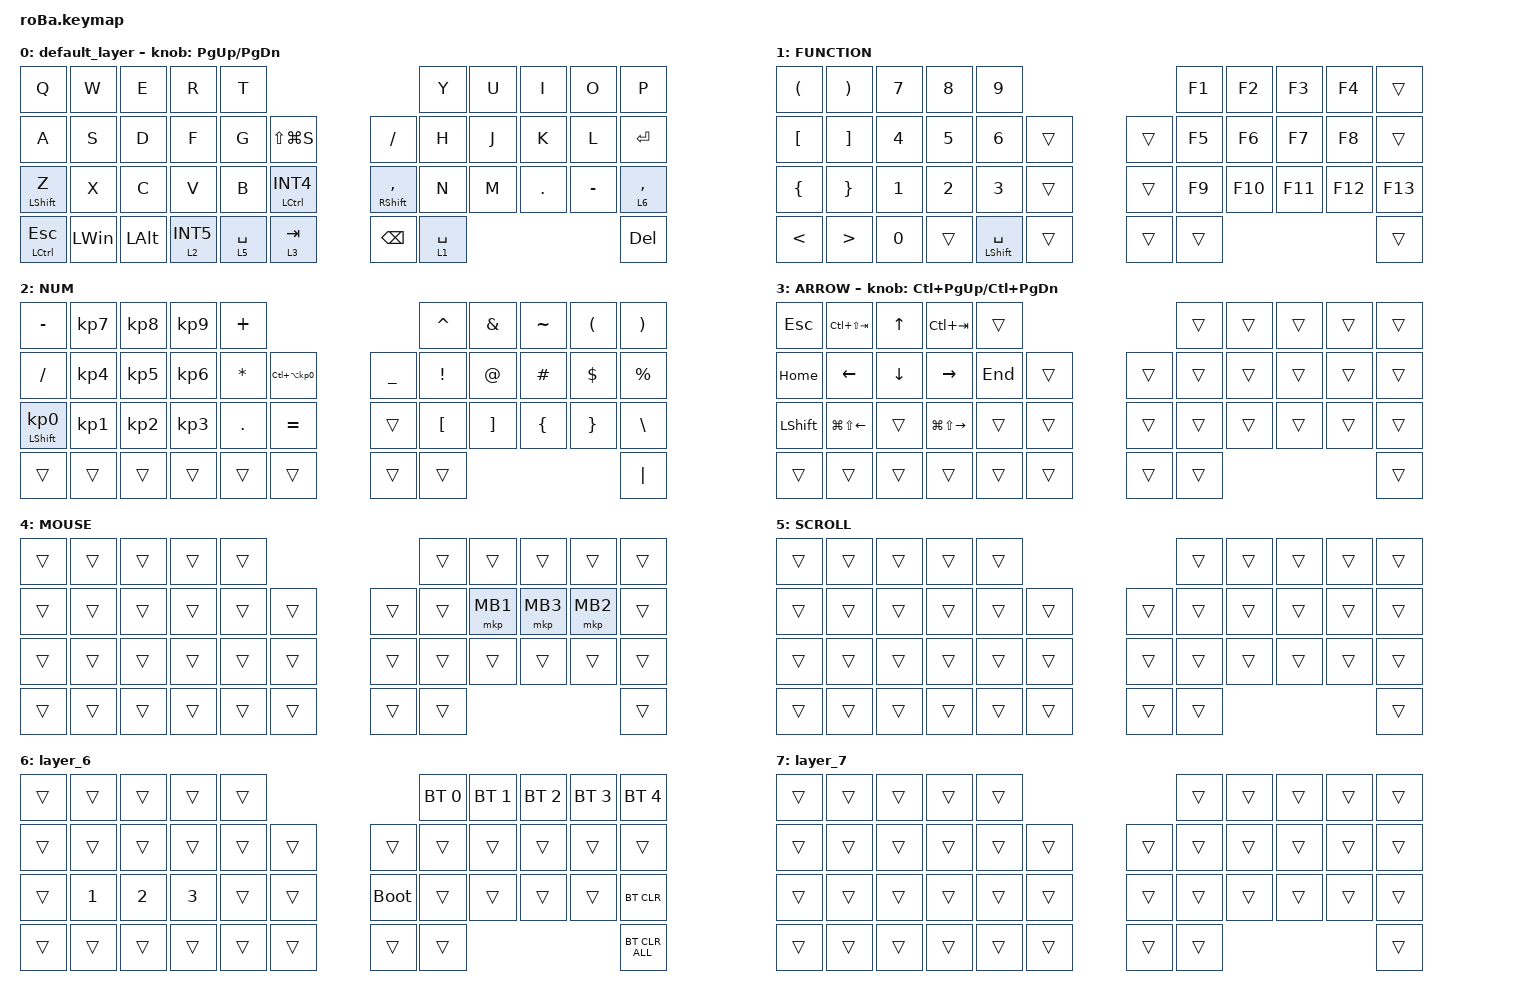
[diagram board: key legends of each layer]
#include <behaviors.dtsi>
#include <dt-bindings/zmk/bt.h>
#include <dt-bindings/zmk/keys.h>
#include <dt-bindings/zmk/pointing.h>

&mt {
    flavor = "balanced";
    quick-tap-ms = <0>;
};

&trackball {
    automouse-layer = <4>;
    scroll-layers = <5>;

    // arrows {
    //     layers = <3>;
    //     bindings =
    //         <&kp RIGHT_ARROW>,
    //         <&kp LEFT_ARROW>,
    //         <&kp UP_ARROW>,
    //         <&kp DOWN_ARROW>;
    //     tick = <10>;
    //     wait-ms = <5>;
    //     tap-ms = <5>;
    // };
};

/ {
    combos {
        compatible = "zmk,combos";

        tab {
            bindings = <&kp TAB>;
            key-positions = <11 12>;
        };

        shift_tab {
            bindings = <&kp LS(TAB)>;
            key-positions = <12 13>;
        };

        muhennkann {
            bindings = <&to_layer_0 INT_MUHENKAN>;
            key-positions = <11 10>;
        };

        double_quotation {
            bindings = <&kp DOUBLE_QUOTES>;
            key-positions = <20 21>;
        };

        eq {
            bindings = <&kp EQUAL>;
            key-positions = <24 25>;
        };
    };

    macros {
        to_layer_0: to_layer_0 {
            compatible = "zmk,behavior-macro-one-param";
            #binding-cells = <1>;
            bindings = <&to 0 &macro_param_1to1 &kp MACRO_PLACEHOLDER>;
            label = "TO_LAYER_0";
        };
    };

    behaviors {
        lt_to_layer_0: lt_to_layer_0 {
            compatible = "zmk,behavior-hold-tap";
            label = "LAYER_TAP_TO_0";
            bindings = <&mo>, <&to_layer_0>;

            #binding-cells = <2>;
            tapping-term-ms = <200>;
        };
    };

    keymap {
        compatible = "zmk,keymap";

        default_layer {
            bindings = <
&kp Q                    &kp W         &kp E         &kp R                  &kp T                                                          &kp Y        &kp U  &kp I       &kp O      &kp P
&kp A                    &kp S         &kp D         &kp F                  &kp G        &kp LS(LG(S))              &kp SLASH              &kp H        &kp J  &kp K       &kp L      &kp ENTER
&mt LEFT_SHIFT Z         &kp X         &kp C         &kp V                  &kp B        &mt LEFT_CONTROL INT4      &mt RIGHT_SHIFT COMMA  &kp N        &kp M  &kp PERIOD  &kp MINUS  &lt 6 COMMA
&mt LEFT_CONTROL ESCAPE  &kp LEFT_WIN  &kp LEFT_ALT  &lt_to_layer_0 2 INT5  &lt 5 SPACE  &lt_to_layer_0 3 TAB       &kp BACKSPACE          &lt 1 SPACE                                &kp DEL
            >;

            sensor-bindings = <&inc_dec_kp PG_UP PAGE_DOWN>;
        };

        FUNCTION {
            bindings = <
&kp LPAR  &kp RPAR  &kp N7        &kp N8  &kp N9                                    &kp F1  &kp F2   &kp F3   &kp F4   &trans
&kp LBKT  &kp RBKT  &kp N4        &kp N5  &kp N6                &trans      &trans  &kp F5  &kp F6   &kp F7   &kp F8   &trans
&kp LBRC  &kp RBRC  &kp NUMBER_1  &kp N2  &kp N3                &trans      &trans  &kp F9  &kp F10  &kp F11  &kp F12  &kp F13
&kp LT    &kp GT    &kp N0        &trans  &mt LEFT_SHIFT SPACE  &trans      &trans  &trans                             &trans
            >;
        };

        NUM {
            bindings = <
&kp MINUS                   &kp KP_NUMBER_7  &kp KP_NUMBER_8  &kp KP_NUMBER_9  &kp PLUS                                                   &kp CARET         &kp AMPERSAND      &kp TILDE       &kp LEFT_PARENTHESIS  &kp RIGHT_PARENTHESIS
&kp SLASH                   &kp KP_NUMBER_4  &kp KP_NUMBER_5  &kp KP_NUMBER_6  &kp ASTERISK  &kp LC(LA(KP_NUMBER_0))      &kp UNDERSCORE  &kp EXCLAMATION   &kp AT_SIGN        &kp HASH        &kp DOLLAR            &kp PERCENT
&mt LEFT_SHIFT KP_NUMBER_0  &kp KP_NUMBER_1  &kp KP_NUMBER_2  &kp KP_NUMBER_3  &kp PERIOD    &kp EQUAL                    &trans          &kp LEFT_BRACKET  &kp RIGHT_BRACKET  &kp LEFT_BRACE  &kp RIGHT_BRACE       &kp BACKSLASH
&trans                      &trans           &trans           &trans           &trans        &trans                       &trans          &trans                                                                     &kp PIPE
            >;
        };

        ARROW {
            bindings = <
&kp ESCAPE      &kp LC(LS(TAB))         &kp UP_ARROW    &kp LC(TAB)              &trans                       &trans  &trans  &trans  &trans  &trans
&kp HOME        &kp LEFT_ARROW          &kp DOWN_ARROW  &kp RIGHT_ARROW          &kp END  &trans      &trans  &trans  &trans  &trans  &trans  &trans
&kp LEFT_SHIFT  &kp LG(LS(LEFT_ARROW))  &trans          &kp LG(LS(RIGHT_ARROW))  &trans   &trans      &trans  &trans  &trans  &trans  &trans  &trans
&trans          &trans                  &trans          &trans                   &trans   &trans      &trans  &trans                          &trans
            >;

            sensor-bindings = <&inc_dec_kp LC(PAGE_UP) LC(PAGE_DOWN)>;
        };

        MOUSE {
            bindings = <
&trans  &trans  &trans  &trans  &trans                      &trans  &trans    &trans    &trans    &trans
&trans  &trans  &trans  &trans  &trans  &trans      &trans  &trans  &mkp MB1  &mkp MB3  &mkp MB2  &trans
&trans  &trans  &trans  &trans  &trans  &trans      &trans  &trans  &trans    &trans    &trans    &trans
&trans  &trans  &trans  &trans  &trans  &trans      &trans  &trans                                &trans
            >;
        };

        SCROLL {
            bindings = <
&trans  &trans  &trans  &trans  &trans                      &trans  &trans  &trans  &trans  &trans
&trans  &trans  &trans  &trans  &trans  &trans      &trans  &trans  &trans  &trans  &trans  &trans
&trans  &trans  &trans  &trans  &trans  &trans      &trans  &trans  &trans  &trans  &trans  &trans
&trans  &trans  &trans  &trans  &trans  &trans      &trans  &trans                          &trans
            >;
        };

        layer_6 {
            bindings = <
&trans  &trans        &trans        &trans        &trans                           &bt BT_SEL 0  &bt BT_SEL 1  &bt BT_SEL 2  &bt BT_SEL 3  &bt BT_SEL 4
&trans  &trans        &trans        &trans        &trans  &trans      &trans       &trans        &trans        &trans        &trans        &trans
&trans  &kp NUMBER_1  &kp NUMBER_2  &kp NUMBER_3  &trans  &trans      &bootloader  &trans        &trans        &trans        &trans        &bt BT_CLR
&trans  &trans        &trans        &trans        &trans  &trans      &trans       &trans                                                  &bt BT_CLR_ALL
            >;
        };

        layer_7 {
            bindings = <
&trans  &trans  &trans  &trans  &trans                      &trans  &trans  &trans  &trans  &trans
&trans  &trans  &trans  &trans  &trans  &trans      &trans  &trans  &trans  &trans  &trans  &trans
&trans  &trans  &trans  &trans  &trans  &trans      &trans  &trans  &trans  &trans  &trans  &trans
&trans  &trans  &trans  &trans  &trans  &trans      &trans  &trans                          &trans
            >;
        };
    };
};
